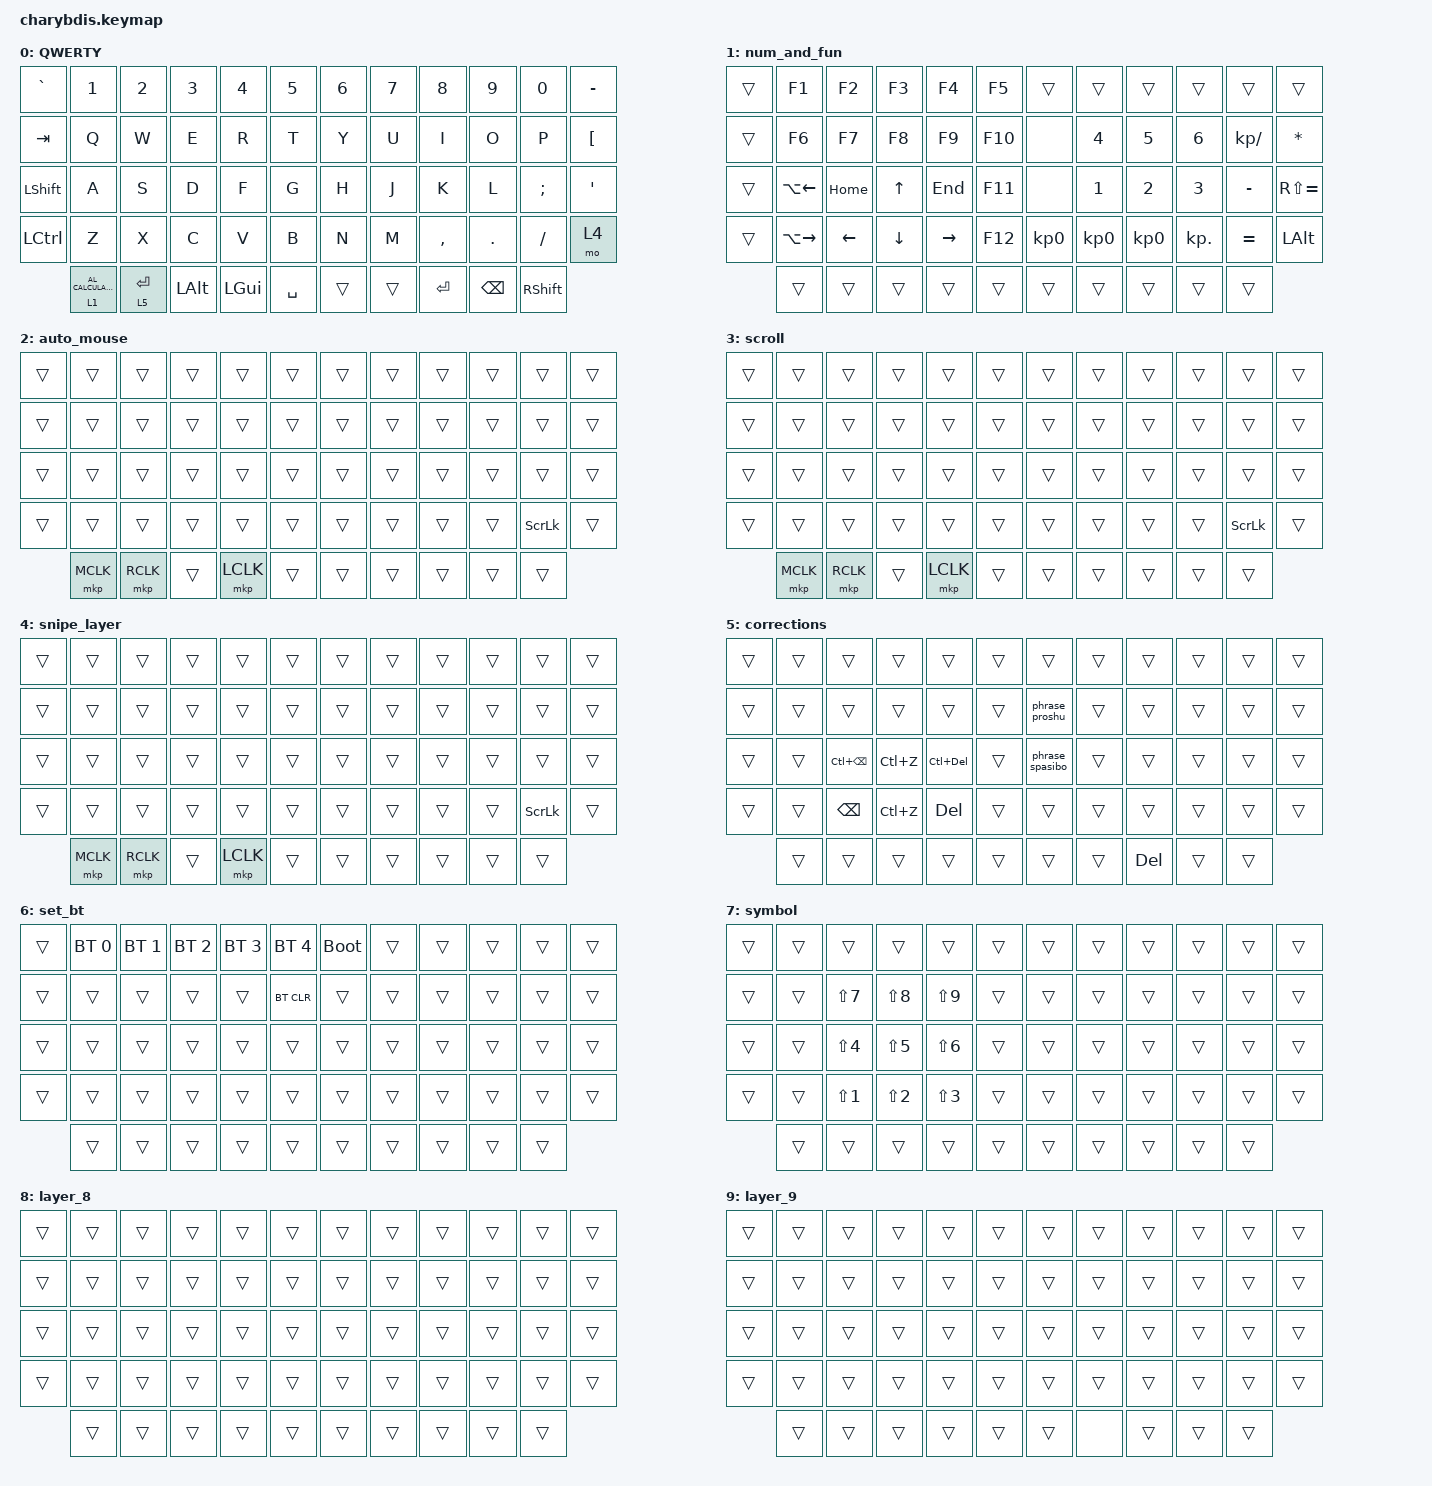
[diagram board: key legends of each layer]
#include <behaviors/mouse_keys.dtsi>
#include <dt-bindings/zmk/mouse.h>
#include <behaviors.dtsi>
#include <dt-bindings/zmk/bt.h>
#include <dt-bindings/zmk/keys.h>
#include <dt-bindings/zmk/pointing.h>

/ {
    behaviors {
        hml: homewrow_mods_left {
            compatible = "zmk,behavior-hold-tap";
            label = "homewrow_mods_left";
            bindings = <&kp>, <&kp>;

            #binding-cells = <2>;
            hold-trigger-key-positions = <6 7 8 9 10 11 18 19 20 21 22 23 30 31 32 33 34 35 42 43 44 45 46 47 48 49 50 51 52 53 54 55 56 57>; 
            tapping-term-ms = <300>;
            flavor = "balanced";
            quick-tap-ms = <175>;
            require-prior-idle-ms = <250>;
            hold-trigger-on-release;
        };

        hmr: hmr {
            compatible = "zmk,behavior-hold-tap";
            label = "HMR";
            bindings = <&kp>, <&kp>;

            #binding-cells = <2>;
            tapping-term-ms = <300>;
            hold-trigger-key-positions = <0 1 12 13 14 15 16 17 24 25 26 27 28 29 36 37 38 39 40 41 48 49 50 51 52 2 3 4 5>;
            flavor = "balanced";
            quick-tap-ms = <175>;
            require-prior-idle-ms = <250>;
            hold-trigger-on-release;
        };

        tap_preferred: tap_preferred {
            compatible = "zmk,behavior-hold-tap";
            label = "TAP_PREFERRED";
            bindings = <&mo>, <&kp>;

            #binding-cells = <2>;
            tapping-term-ms = <40>;
            flavor = "tap-preferred";
        };

        phrase_proshu: phrase_proshu {
            compatible = "zmk,behavior-macro";
            label = "phrase_proshu";
            #binding-cells = <0>;
            bindings =
                <&macro_press>,
                <&kp LSHIFT>,
                <&macro_tap>,
                <&kp G>,
                <&macro_release>,
                <&kp LSHIFT>,
                <&macro_tap>,
                <&kp H>,
                <&macro_tap>,
                <&kp J>,
                <&macro_tap>,
                <&kp I>,
                <&macro_tap>,
                <&kp E>,
                <&macro_tap>,
                <&kp SPACE>,
                <&macro_tap>,
                <&kp H>,
                <&macro_tap>,
                <&kp F>,
                <&macro_tap>,
                <&kp C>,
                <&macro_tap>,
                <&kp C>,
                <&macro_tap>,
                <&kp V>,
                <&macro_tap>,
                <&kp J>,
                <&macro_tap>,
                <&kp N>,
                <&macro_tap>,
                <&kp H>,
                <&macro_tap>,
                <&kp T>,
                <&macro_tap>,
                <&kp N>,
                <&macro_tap>,
                <&kp M>,
                <&macro_press>,
                <&kp LCTRL>,
                <&macro_tap>,
                <&kp ENTER>,
                <&macro_release>,
                <&kp LCTRL>;
        };

        phrase_spasibo: phrase_spasibo {
            compatible = "zmk,behavior-macro";
            label = "phrase_spasibo";
            #binding-cells = <0>;
            bindings =
                <&macro_press>,
                <&kp LSHIFT>,
                <&macro_tap>,
                <&kp C>,
                <&macro_release>,
                <&kp LSHIFT>,
                <&macro_tap>,
                <&kp G>,
                <&macro_tap>,
                <&kp F>,
                <&macro_tap>,
                <&kp C>,
                <&macro_tap>,
                <&kp B>,
                <&macro_tap>,
                <&kp COMMA>,
                <&macro_tap>,
                <&kp J>,
                <&macro_tap>,
                <&kp EXCL>,
                <&macro_press>,
                <&kp LCTRL>,
                <&macro_tap>,
                <&kp ENTER>,
                <&macro_release>,
                <&kp LCTRL>;
        };
    };

    combos {
        compatible = "zmk,combos";

        minus { bindings = <&kp MINUS>; key-positions = <31 30>; };
        par { bindings = <&kp RIGHT_PARENTHESIS>; key-positions = <31 32>; require-prior-idle-ms = <100>; };
        par2 { bindings = <&kp LEFT_PARENTHESIS>; key-positions = <27 28>; require-prior-idle-ms = <100>; };
        underscore { bindings = <&kp UNDER>; key-positions = <42 43>; };
        bra { bindings = <&kp LEFT_BRACKET>; key-positions = <15 16>; };
        right { bindings = <&kp RIGHT_BRACKET>; key-positions = <19 20>; };
        equal { bindings = <&kp EQUAL>; key-positions = <40 41>; };
        plus { bindings = <&kp PLUS>; key-positions = <18 19>; };
        esc { bindings = <&kp ESCAPE>; key-positions = <0 1>; };
        LAYER_BT { bindings = <&mo 6>; key-positions = <36 47>; };
        home { bindings = <&kp HOME>; key-positions = <10 22>; layers = <1>; };
        end { bindings = <&kp END>; key-positions = <11 23>; layers = <1>; };
        pg_up { bindings = <&kp PAGE_UP>; key-positions = <10 11>; layers = <1>; };
        pg_dn { bindings = <&kp PAGE_DOWN>; key-positions = <22 23>; layers = <1>; };
        ar_up { bindings = <&kp UP_ARROW>; key-positions = <34 35>; layers = <1>; };
        ar_dn { bindings = <&kp DOWN_ARROW>; key-positions = <46 47>; layers = <1>; };
        ar_lt { bindings = <&kp LEFT_ARROW>; key-positions = <34 46>; layers = <1>; };
        al_rt { bindings = <&kp RIGHT_ARROW>; key-positions = <35 47>; layers = <1>; };
        less { bindings = <&kp LESS_THAN>; key-positions = <39 40>; };
        greater { bindings = <&kp GREATER_THAN>; key-positions = <43 44>; };
        logoff { bindings = <&kp LG(L)>; key-positions = <0 12>; };
        Scroll_L { bindings = <&msc SCRL_LEFT>; key-positions = <24 36>; };
        Scroll_R { bindings = <&msc SCRL_RIGHT>; key-positions = <25 37>; };
           };

    macros {
    };

    keymap {
        compatible = "zmk,keymap";

        QWERTY { bindings = <
&kp GRAVE   &kp N1                 &kp N2       &kp N3        &kp N4         &kp N5              &kp N6    &kp N7     &kp N8     &kp N9         &kp N0          &kp MINUS
&kp TAB     &kp Q                  &kp W        &kp E         &kp R          &kp T               &kp Y     &kp U      &kp I      &kp O          &kp P           &kp LEFT_BRACKET
&kp LSHFT   &kp A                  &kp S        &kp D         &kp F          &kp G               &kp H     &kp J      &kp K      &kp L          &kp SEMI        &kp APOS
&kp LCTRL   &kp Z                  &kp X        &kp C         &kp V          &kp B               &kp N     &kp M      &kp COMMA  &kp DOT        &kp FSLH        &mo 4
            &lt 1 C_AL_CALCULATOR  &lt 5 ENTER  &kp LEFT_ALT  &kp LGUI       &kp SPACE           &trans    &trans     &kp ENTER  &kp BACKSPACE  &kp RIGHT_SHIFT
            >; };

        num_and_fun { bindings = <
&trans  &kp F1              &kp F2          &kp F3          &kp F4           &kp F5               &trans           &trans           &trans           &trans        &trans         &trans
&trans  &kp F6              &kp F7          &kp F8          &kp F9           &kp F10              &none            &kp NUMBER_4     &kp N5           &kp NUMBER_6  &kp KP_DIVIDE  &kp ASTERISK
&trans  &kp LA(LEFT_ARROW)  &kp HOME        &kp UP_ARROW    &kp END          &kp F11              &none            &kp NUMBER_1     &kp NUMBER_2     &kp NUMBER_3  &kp MINUS      &kp RS(EQUAL)
&trans  &kp LA(RIGHT_ARROW) &kp LEFT_ARROW  &kp DOWN_ARROW  &kp RIGHT_ARROW  &kp F12              &kp KP_NUMBER_0  &kp KP_NUMBER_0  &kp KP_NUMBER_0  &kp KP_DOT    &kp EQUAL      &kp LEFT_ALT
        &trans              &trans          &trans          &trans           &trans               &trans           &trans           &trans           &trans        &trans
            >; };

        auto_mouse { bindings = <
&trans  &trans     &trans     &trans  &trans     &trans         &trans  &trans  &trans  &trans  &trans  &trans
&trans  &trans     &trans     &trans  &trans     &trans         &trans  &trans  &trans  &trans  &trans  &trans
&trans  &trans     &trans     &trans  &trans     &trans         &trans  &trans  &trans  &trans  &trans  &trans
&trans  &trans     &trans     &trans  &trans     &trans         &trans  &trans  &trans  &trans  &kp SCROLLLOCK  &trans
        &mkp MCLK  &mkp RCLK  &trans  &mkp LCLK  &trans         &trans  &trans  &trans  &trans  &trans
            >; };

        scroll { bindings = <
&trans  &trans     &trans     &trans  &trans     &trans         &trans  &trans  &trans  &trans  &trans  &trans
&trans  &trans     &trans     &trans  &trans     &trans         &trans  &trans  &trans  &trans  &trans  &trans
&trans  &trans     &trans     &trans  &trans     &trans         &trans  &trans  &trans  &trans  &trans  &trans
&trans  &trans     &trans     &trans  &trans     &trans         &trans  &trans  &trans  &trans  &kp SCROLLLOCK  &trans
        &mkp MCLK  &mkp RCLK  &trans  &mkp LCLK  &trans         &trans  &trans  &trans  &trans  &trans
            >; };

        snipe_layer { bindings = <
&trans  &trans     &trans     &trans  &trans     &trans         &trans  &trans  &trans  &trans  &trans  &trans
&trans  &trans     &trans     &trans  &trans     &trans         &trans  &trans  &trans  &trans  &trans  &trans
&trans  &trans     &trans     &trans  &trans     &trans         &trans  &trans  &trans  &trans  &trans  &trans
&trans  &trans     &trans     &trans  &trans     &trans         &trans  &trans  &trans  &trans  &kp SCROLLLOCK  &trans  
        &mkp MCLK  &mkp RCLK  &trans  &mkp LCLK  &trans         &trans  &trans  &trans  &trans  &trans
            >; };

        corrections { bindings = <
&trans  &trans  &trans             &trans     &trans          &trans          &trans           &trans  &trans      &trans  &trans  &trans
&trans  &trans  &trans             &trans     &trans          &trans          &phrase_proshu   &trans  &trans      &trans  &trans  &trans
&trans  &trans  &kp LC(BACKSPACE)  &kp LC(Z)  &kp LC(DELETE)  &trans          &phrase_spasibo  &trans  &trans      &trans  &trans  &trans
&trans  &trans  &kp BACKSPACE      &kp LC(Z)  &kp DELETE      &trans          &trans           &trans  &trans      &trans  &trans  &trans
        &trans  &trans             &trans     &trans          &trans          &trans           &trans  &kp DELETE  &trans  &trans   
            >; };

        set_bt { bindings = <
&trans  &bt BT_SEL 0  &bt BT_SEL 1  &bt BT_SEL 2  &bt BT_SEL 3  &bt BT_SEL 4      &bootloader  &trans  &trans  &trans  &trans  &trans
&trans  &trans        &trans        &trans        &trans        &bt BT_CLR        &trans       &trans  &trans  &trans  &trans  &trans
&trans  &trans        &trans        &trans        &trans        &trans            &trans       &trans  &trans  &trans  &trans  &trans
&trans  &trans        &trans        &trans        &trans        &trans            &trans       &trans  &trans  &trans  &trans  &trans
&trans  &trans        &trans        &trans        &trans                          &trans       &trans  &trans  &trans  &trans
            >; };

        symbol { bindings = <
&trans  &trans  &trans      &trans      &trans      &trans      &trans  &trans  &trans  &trans  &trans  &trans
&trans  &trans  &kp LS(N7)  &kp LS(N8)  &kp LS(N9)  &trans      &trans  &trans  &trans  &trans  &trans  &trans
&trans  &trans  &kp LS(N4)  &kp LS(N5)  &kp LS(N6)  &trans      &trans  &trans  &trans  &trans  &trans  &trans
&trans  &trans  &kp LS(N1)  &kp LS(N2)  &kp LS(N3)  &trans      &trans  &trans  &trans  &trans  &trans  &trans
&trans  &trans  &trans      &trans      &trans                          &trans  &trans  &trans  &trans  &trans
            >; };

        layer_8 { bindings = <
&trans  &trans  &trans  &trans  &trans  &trans      &trans  &trans  &trans  &trans  &trans  &trans
&trans  &trans  &trans  &trans  &trans  &trans      &trans  &trans  &trans  &trans  &trans  &trans
&trans  &trans  &trans  &trans  &trans  &trans      &trans  &trans  &trans  &trans  &trans  &trans
&trans  &trans  &trans  &trans  &trans  &trans      &trans  &trans  &trans  &trans  &trans  &trans
&trans  &trans  &trans  &trans  &trans                      &trans  &trans  &trans  &trans  &trans
            >; };

        layer_9 { bindings = <
&trans  &trans  &trans  &trans  &trans  &trans      &trans  &trans  &trans  &trans  &trans  &trans
&trans  &trans  &trans  &trans  &trans  &trans      &trans  &trans  &trans  &trans  &trans  &trans
&trans  &trans  &trans  &trans  &trans  &trans      &trans  &trans  &trans  &trans  &trans  &trans
&trans  &trans  &trans  &trans  &trans  &trans      &trans  &trans  &trans  &trans  &trans  &trans
&trans  &trans  &trans  &trans  &trans                      &trans  &none   &trans  &trans  &trans
            >;
        };
    };
};
